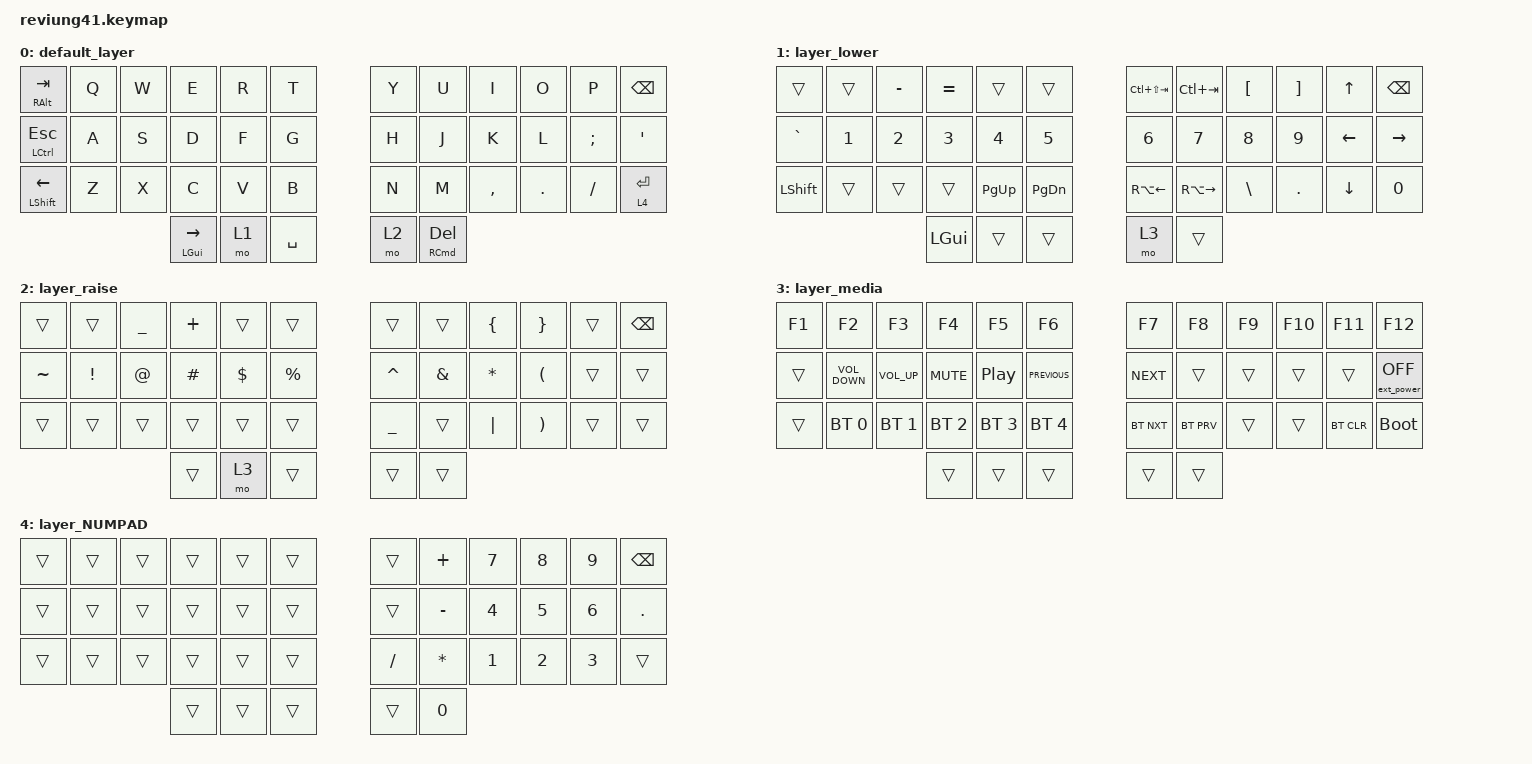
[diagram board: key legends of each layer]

/*
 * Copyright (c) 2020 The ZMK Contributors
 *
 * SPDX-License-Identifier: MIT
 */


/* THIS FILE WAS GENERATED!
 *
 * This file was generated automatically. You may or may not want to
 * edit it directly.
 */

#include <behaviors.dtsi>
#include <dt-bindings/zmk/bt.h>
#include <dt-bindings/zmk/ext_power.h>
#include <dt-bindings/zmk/keys.h>

&lt {
  flavor = "hold-preferred";
  tapping_term_ms = <300>;
  quick_tap_ms = <200>;
};

/ {
    combos {
        compatible = "zmk,combos";
        combo_esc {
            timeout-ms = <50>;
            key-positions = <2 40>;
            bindings = <&kp UNDERSCORE>;
        };
    };
};

/ {
    keymap {
        compatible = "zmk,keymap";


         default_layer {
            bindings = <
         &mt RALT TAB   &kp Q   &kp W     &kp E       &kp R      &kp T                  &kp Y                     &kp U      &kp I    &kp O     &kp P  &kp BACKSPACE
 &mt LEFT_CONTROL ESC   &kp A   &kp S     &kp D       &kp F      &kp G                  &kp H                     &kp J      &kp K    &kp L  &kp SEMI       &kp APOS
            &mt LSHIFT LEFT   &kp Z   &kp X     &kp C       &kp V      &kp B                  &kp N                     &kp M  &kp COMMA  &kp DOT  &kp FSLH    &lt 4 ENTER
                                       &mt LGUI RIGHT  &mo 1   &kp SPACE            &mo 2   &mt RIGHT_COMMAND DELETE
            >;
        };

        layer_lower {
            bindings = <
         &trans        &trans     &kp MINUS     &kp EQUAL        &trans         &trans            &kp LC(LS(TAB))    &kp LC(TAB)  &kp LEFT_BRACKET  &kp RIGHT_BRACKET    &kp UP      &kp BSPC
      &kp GRAVE  &kp NUMBER_1  &kp NUMBER_2  &kp NUMBER_3  &kp NUMBER_4   &kp NUMBER_5               &kp NUMBER_6   &kp NUMBER_7      &kp NUMBER_8       &kp NUMBER_9  &kp LEFT     &kp RIGHT
 &kp LEFT_SHIFT        &trans        &trans        &trans     &kp PG_UP  &kp PAGE_DOWN               &kp RA(LEFT)  &kp RA(RIGHT)     &kp BACKSLASH         &kp PERIOD  &kp DOWN  &kp NUMBER_0
                                                 &kp LGUI        &trans         &trans                      &mo 3         &trans
            >;
        };

        layer_raise {
            bindings = <
    &trans    &trans  &kp UNDERSCORE   &kp PLUS      &trans       &trans               &trans         &trans  &kp LEFT_BRACE        &kp RIGHT_BRACE  &trans  &kp BSPC
 &kp TILDE  &kp EXCL          &kp AT  &kp POUND  &kp DOLLAR  &kp PERCENT            &kp CARET  &kp AMPERSAND    &kp ASTERISK   &kp LEFT_PARENTHESIS  &trans    &trans
    &trans    &trans          &trans     &trans      &trans       &trans            &kp UNDER         &trans        &kp PIPE  &kp RIGHT_PARENTHESIS  &trans    &trans
                                         &trans       &mo 3       &trans               &trans         &trans
            >;
        };

        layer_media {
            bindings = <
 &kp F1             &kp F2        &kp F3        &kp F4            &kp F5          &kp F6                &kp F7      &kp F8  &kp F9  &kp F10     &kp F11            &kp F12
 &trans  &kp C_VOLUME_DOWN  &kp C_VOL_UP    &kp C_MUTE  &kp C_PLAY_PAUSE  &kp C_PREVIOUS            &kp C_NEXT      &trans  &trans   &trans      &trans  &ext_power EP_OFF
 &trans       &bt BT_SEL 0  &bt BT_SEL 1  &bt BT_SEL 2      &bt BT_SEL 3    &bt BT_SEL 4            &bt BT_NXT  &bt BT_PRV  &trans   &trans  &bt BT_CLR        &bootloader
                                                &trans            &trans          &trans                &trans      &trans
            >;
        };

        layer_NUMPAD {
            bindings = <
 &trans  &trans  &trans  &trans  &trans  &trans               &trans      &kp PLUS  &kp NUMBER_7  &kp NUMBER_8  &kp NUMBER_9  &kp BACKSPACE
 &trans  &trans  &trans  &trans  &trans  &trans               &trans     &kp MINUS  &kp NUMBER_4  &kp NUMBER_5  &kp NUMBER_6        &kp DOT
 &trans  &trans  &trans  &trans  &trans  &trans            &kp SLASH      &kp STAR  &kp NUMBER_1  &kp NUMBER_2  &kp NUMBER_3         &trans
                         &trans  &trans  &trans               &trans  &kp NUMBER_0
            >;
        };

    };
};
